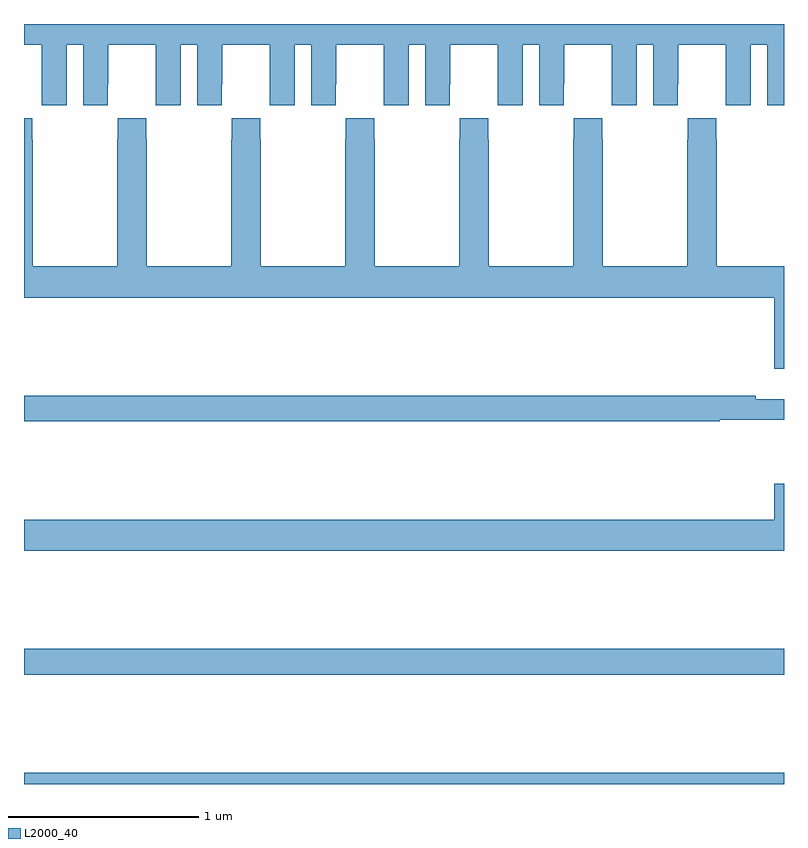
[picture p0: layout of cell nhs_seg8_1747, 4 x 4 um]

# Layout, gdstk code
import gdstk
lib = gdstk.Library(unit=1e-6, precision=1e-09)
def R(c, l, rs):  # rectangles x0, y0, x1, y1
    for r in rs: c.add(gdstk.rectangle(r[:2], r[2:], *l))
def P(c, l, *ps):  # polygons
    for p in ps: c.add(gdstk.Polygon(p, *l))
L2000_40 = (2000, 40)

nhs_seg8_1747 = lib.new_cell('nhs_seg8_1747')
R(nhs_seg8_1747, L2000_40, [(221,1153.9,225,1153.96), (221,1154.476,225,1154.612)])
P(nhs_seg8_1747, L2000_40, [(221,1157.792),(221.093,1157.792),(221.093,1157.584),(221.094,1157.584),(221.094,1157.472),(221.224,1157.472),(221.224,1157.792),(221.312,1157.792),(221.312,1157.472),(221.442,1157.472),(221.442,1157.584),(221.443,1157.584),(221.443,1157.792),(221.693,1157.792),(221.693,1157.584),(221.694,1157.584),(221.694,1157.472),(221.824,1157.472),(221.824,1157.792),(221.912,1157.792),(221.912,1157.472),(222.042,1157.472),(222.042,1157.584),(222.043,1157.584),(222.043,1157.792),(222.293,1157.792),(222.293,1157.584),(222.294,1157.584),(222.294,1157.472),(222.424,1157.472),(222.424,1157.792),(222.512,1157.792),(222.512,1157.472),(222.642,1157.472),(222.642,1157.584),(222.643,1157.584),(222.643,1157.792),(222.893,1157.792),(222.893,1157.584),(222.894,1157.584),(222.894,1157.472),(223.024,1157.472),(223.024,1157.792),(223.112,1157.792),(223.112,1157.472),(223.242,1157.472),(223.242,1157.584),(223.243,1157.584),(223.243,1157.792),(223.493,1157.792),(223.493,1157.584),(223.494,1157.584),(223.494,1157.472),(223.624,1157.472),(223.624,1157.792),(223.712,1157.792),(223.712,1157.472),(223.842,1157.472),(223.842,1157.584),(223.843,1157.584),(223.843,1157.792),(224.093,1157.792),(224.093,1157.584),(224.094,1157.584),(224.094,1157.472),(224.224,1157.472),(224.224,1157.792),(224.312,1157.792),(224.312,1157.472),(224.442,1157.472),(224.442,1157.584),(224.443,1157.584),(224.443,1157.792),(224.693,1157.792),(224.693,1157.584),(224.694,1157.584),(224.694,1157.472),(224.824,1157.472),(224.824,1157.792),(224.912,1157.792),(224.912,1157.472),(225,1157.472),(225,1157.9),(221,1157.9)],
  [(225,1156.624),(224.646,1156.624),(224.646,1157.291),(224.643,1157.291),(224.643,1157.404),(224.493,1157.404),(224.493,1157.291),(224.491,1157.291),(224.491,1156.624),(224.046,1156.624),(224.046,1157.291),(224.043,1157.291),(224.043,1157.404),(223.893,1157.404),(223.893,1157.291),(223.891,1157.291),(223.891,1156.624),(223.446,1156.624),(223.446,1157.291),(223.443,1157.291),(223.443,1157.404),(223.293,1157.404),(223.293,1157.291),(223.291,1157.291),(223.291,1156.624),(222.846,1156.624),(222.846,1157.291),(222.843,1157.291),(222.843,1157.404),(222.693,1157.404),(222.693,1157.291),(222.691,1157.291),(222.691,1156.624),(222.246,1156.624),(222.246,1157.291),(222.243,1157.291),(222.243,1157.404),(222.093,1157.404),(222.093,1157.291),(222.091,1157.291),(222.091,1156.624),(221.646,1156.624),(221.646,1157.291),(221.643,1157.291),(221.643,1157.404),(221.493,1157.404),(221.493,1157.291),(221.491,1157.291),(221.491,1156.624),(221.046,1156.624),(221.046,1157.291),(221.043,1157.291),(221.043,1157.404),(221,1157.404),(221,1156.46),(224.948,1156.46),(224.948,1156.086),(225,1156.086)],
  [(224.662,1155.816),(225,1155.816),(225,1155.925),(224.852,1155.925),(224.852,1155.944),(221,1155.944),(221,1155.808),(224.662,1155.808)],
  [(225,1155.481),(224.948,1155.481),(224.948,1155.292),(221,1155.292),(221,1155.128),(225,1155.128)])

lib.write_gds('nhs_seg8_1747.gds')
